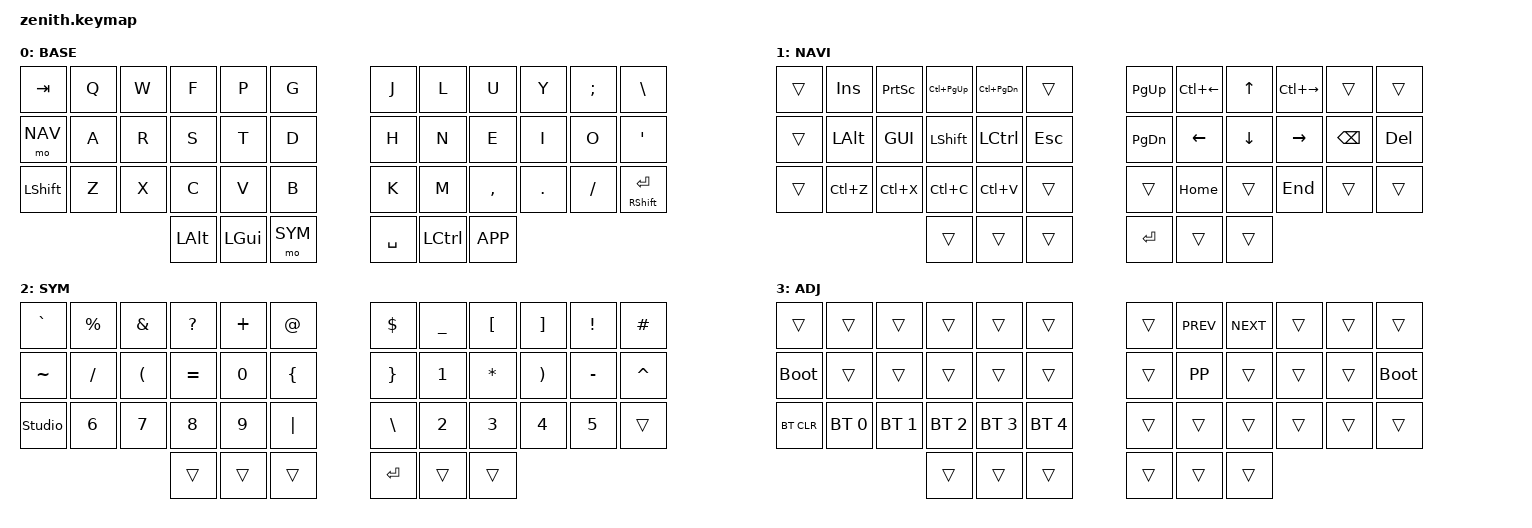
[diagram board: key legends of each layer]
//
//                                                        ▀▀▀▀▀     ▀▀▀▀▀          ▀▀█▀▀
//                                                        ▄▀▀▀▄  ▄  ▄▀▀▀▄  ▄  ▄▀▀▀▄  █  ▄▀▀▀▄
//                                                        █   █  █  █   █  █  █   █  █  █   █
//                                                         ▀▀▀   █   ▀▀▀   █   ▀▀▀   ▀   ▀▀▀
//                                                               █      ▄▄▄█▄▄▄    █   █  
//                                                               ▀      █  █  █     █▄█
//                                                             ▀▀▀▀▀    █  █  █      ▀
//                                                                      ▀  ▀  ▀
//
// ▄▄▄▄▄▄▄▄▄▄▄▄▄▄▄▄▄▄▄▄▄▄▄▄▄▄▄▄▄▄▄▄▄▄▄▄▄▄▄▄▄▄▄▄▄▄▄▄▄▄▄▄▄▄▄▄▄▄▄▄▄▄▄▄▄▄▄▄▄▄▄▄▄▄▄▄▄▄▄▄▄▄▄▄▄▄▄▄▄▄▄▄▄▄▄▄▄▄▄▄▄▄▄▄▄▄▄▄▄▄▄▄▄▄▄▄▄▄▄▄▄▄▄▄▄▄▄▄▄▄▄▄▄▄▄▄▄▄▄▄▄▄▄▄▄▄▄▄▄
       

#include <behaviors.dtsi>
#include <dt-bindings/zmk/keys.h>
#include <dt-bindings/zmk/bt.h>
#include <dt-bindings/zmk/outputs.h>

#define BASE 0
#define NAV  1
#define SYM  2
#define ADJ  3

&mt {
  quick-tap-ms = <100>;
  global-quick-tap;
  flavor = "tap-preferred";
  tapping-term-ms = <170>;
};

/ {
    
    conditional_layers {
        compatible = "zmk,conditional-layers";

        adjust_layer {
            if-layers = <NAV SYM>;
            then-layer = <ADJ>;
        };
    };

    combos {
            compatible = "zmk,combos";
            combo_esc {
                timeout-ms = <50>;
                key-positions = <0 1>;
                bindings = <&kp ESC>;
            };
    };

    macros {
        gif: gif {
            label = "giphy";
            compatible = "zmk,behavior-macro";
            #binding-cells = <0>;
            bindings
                = <&macro_press &kp LSHFT>
                , <&macro_tap &kp N2>
                , <&macro_release &kp LSHFT>
                , <&macro_tap &kp G &kp I &kp F>
                ;
        };
    };

        keymap {
                compatible = "zmk,keymap";
// ▄▄▄▄▄▄▄▄▄▄▄▄▄▄▄▄▄▄▄▄▄▄▄▄▄▄▄▄▄▄▄▄▄▄▄▄▄▄▄▄▄▄▄▄▄▄▄▄▄▄▄▄▄▄▄▄▄▄▄▄▄▄▄▄▄▄▄▄▄▄▄▄▄▄▄▄▄▄▄▄▄▄▄▄▄▄▄▄▄▄▄▄▄▄▄▄▄▄▄▄▄▄▄▄▄▄▄▄▄▄▄▄▄▄▄▄▄▄▄▄▄▄▄▄▄▄▄▄▄▄▄▄▄▄▄▄▄▄▄▄▄▄▄▄▄▄▄▄▄

                base_layer {
// ┏━━━━━━━━━━━━━━━━━━━━━━━━━━━━━━━━━━━━━━━┓
label= "BASE"                              ;
// ┗━━━━━━━━━━━━━━━━━━━━━━━━━━━━━━━━━━━━━━━┛

 bindings = <
// ╷           ╷           ╷           ╷           ╷           ╷           ╷   ╷           ╷           ╷           ╷           ╷           ╷           ╷

&kp TAB     &kp Q      &kp W   &kp F     &kp P     &kp G   &kp J      &kp L            &kp U         &kp Y           &kp SEMI           &kp BSLH
&mo NAV     &kp A      &kp R   &kp S     &kp T     &kp D   &kp H      &kp N            &kp E         &kp I           &kp O              &kp SQT
&kp LSHIFT  &kp Z      &kp X   &kp C     &kp V     &kp B   &kp K      &kp M            &kp COMMA     &kp DOT         &kp FSLH           &mt RSHFT RET
                                         &kp LALT  &kp LGUI  &mo SYM  &kp SPACE        &kp LCTRL     &kp K_APP       
                        >;
                };

// ▄▄▄▄▄▄▄▄▄▄▄▄▄▄▄▄▄▄▄▄▄▄▄▄▄▄▄▄▄▄▄▄▄▄▄▄▄▄▄▄▄▄▄▄▄▄▄▄▄▄▄▄▄▄▄▄▄▄▄▄▄▄▄▄▄▄▄▄▄▄▄▄▄▄▄▄▄▄▄▄▄▄▄▄▄▄▄▄▄▄▄▄▄▄▄▄▄▄▄▄▄▄▄▄▄▄▄▄▄▄▄▄▄▄▄▄▄▄▄▄▄▄▄▄▄▄▄▄▄▄▄▄▄▄▄▄▄▄▄▄▄▄▄▄▄▄▄▄▄


                nav_layer {
// ┏━━━━━━━━━━━━━━━━━━━━━━━━━━━━━━━━━━━━━━━┓
label= "NAVI"                              ;
// ┗━━━━━━━━━━━━━━━━━━━━━━━━━━━━━━━━━━━━━━━┛

 bindings = <
// ╷           ╷           ╷           ╷           ╷           ╷           ╷   ╷           ╷           ╷           ╷           ╷           ╷           ╷
&trans  &kp INS    &kp PSCRN  &kp LC(PG_UP)  &kp LC(PG_DN)  &trans   &kp PG_UP  &kp LC(LEFT_ARROW)  &kp UP     &kp LC(RIGHT_ARROW)  &trans     &trans
&trans  &kp LALT   &kp GUI    &kp LSHFT      &kp LCTRL      &kp ESC  &kp PG_DN  &kp LEFT            &kp DOWN   &kp RIGHT            &kp BSPC   &kp DEL
&trans  &kp LC(Z)  &kp LC(X)  &kp LC(C)      &kp LC(V)      &trans   &trans     &kp HOME            &trans     &kp END               &trans     &trans
                              &trans         &trans         &trans   &kp RET    &trans              &trans     
                        >;
                };

// ▄▄▄▄▄▄▄▄▄▄▄▄▄▄▄▄▄▄▄▄▄▄▄▄▄▄▄▄▄▄▄▄▄▄▄▄▄▄▄▄▄▄▄▄▄▄▄▄▄▄▄▄▄▄▄▄▄▄▄▄▄▄▄▄▄▄▄▄▄▄▄▄▄▄▄▄▄▄▄▄▄▄▄▄▄▄▄▄▄▄▄▄▄▄▄▄▄▄▄▄▄▄▄▄▄▄▄▄▄▄▄▄▄▄▄▄▄▄▄▄▄▄▄▄▄▄▄▄▄▄▄▄▄▄▄▄▄▄▄▄▄▄▄▄▄▄▄▄▄


                sim_layer {
// ┏━━━━━━━━━━━━━━━━━━━━━━━━━━━━━━━━━━━━━━━┓
label= "SYM"                               ;
// ┗━━━━━━━━━━━━━━━━━━━━━━━━━━━━━━━━━━━━━━━┛

 bindings = <
// ╷           ╷           ╷           ╷           ╷           ╷           ╷   ╷           ╷           ╷           ╷           ╷           ╷           ╷

&kp GRAVE  &kp PRCNT  &kp AMPS  &kp QMARK  &kp PLUS   &kp AT    &kp DLLR       &kp UNDER  &kp LBKT     &kp RBKT  &kp EXCL       &kp HASH
&kp TILDE   &kp FSLH   &kp LPAR  &kp EQUAL  &kp N0     &kp LBRC  &kp RBRC       &kp N1     &kp STAR     &kp RPAR  &kp MINUS      &kp CARET
&studio_unlock  &kp N6     &kp N7    &kp N8     &kp N9     &kp PIPE  &kp BACKSLASH  &kp N2     &kp N3       &kp N4    &kp N5         &trans
                             &trans     &trans     &trans    &kp RET        &trans     &trans       
                        >;
                };

// ▄▄▄▄▄▄▄▄▄▄▄▄▄▄▄▄▄▄▄▄▄▄▄▄▄▄▄▄▄▄▄▄▄▄▄▄▄▄▄▄▄▄▄▄▄▄▄▄▄▄▄▄▄▄▄▄▄▄▄▄▄▄▄▄▄▄▄▄▄▄▄▄▄▄▄▄▄▄▄▄▄▄▄▄▄▄▄▄▄▄▄▄▄▄▄▄▄▄▄▄▄▄▄▄▄▄▄▄▄▄▄▄▄▄▄▄▄▄▄▄▄▄▄▄▄▄▄▄▄▄▄▄▄▄▄▄▄▄▄▄▄▄▄▄▄▄▄▄▄


                adjust_layer {
// ┏━━━━━━━━━━━━━━━━━━━━━━━━━━━━━━━━━━━━━━━┓
label= "ADJ"                               ;
// ┗━━━━━━━━━━━━━━━━━━━━━━━━━━━━━━━━━━━━━━━┛

 bindings = <
// ╷           ╷           ╷           ╷           ╷           ╷           ╷   ╷           ╷           ╷           ╷           ╷           ╷           ╷
&trans         &trans      &trans      &trans      &trans      &trans      &trans  &kp K_PREV  &kp K_NEXT          &trans  &trans         &trans
&bootloader        &trans             &trans             &trans        &trans        &trans        &trans  &kp K_PP    &trans              &trans  &trans         &bootloader
&bt BT_CLR         &bt BT_SEL 0       &bt BT_SEL 1       &bt BT_SEL 2  &bt BT_SEL 3  &bt BT_SEL 4  &trans  &trans      &trans              &trans  &trans         &trans
                   &trans             &trans             &trans        &trans        &trans        &trans                 
                        >;
                };
        };
};
